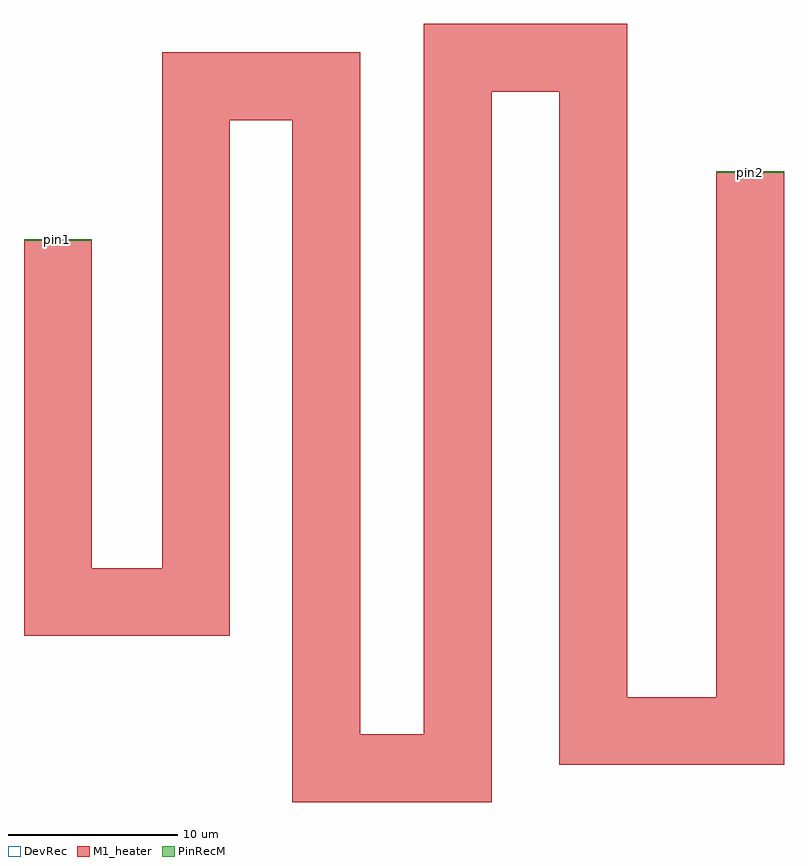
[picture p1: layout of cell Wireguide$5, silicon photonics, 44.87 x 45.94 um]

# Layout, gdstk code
import gdstk
lib = gdstk.Library(unit=1e-6, precision=1e-09)
PinRecM = (1, 11)
M1_heater = (11, 0)
DevRec = (68, 0)

wireguide_5 = lib.new_cell('Wireguide$5')
wireguide_5.add(gdstk.FlexPath([(1006.154,286.189),(1006.154,264.804),(1014.308,264.804),(1014.308,295.254),(1022,295.254),(1022,255),(1029.754,255),(1029.754,296.935),(1037.764,296.935),(1037.764,257.189),(1047.02,257.189),(1047.02,290.189)], 4, ends="flush", simple_path=True, layer=68, datatype=0))  # DevRec
wireguide_5.add(gdstk.FlexPath([(1006.154,286.139),(1006.154,286.239)], 4, ends="flush", simple_path=True, layer=1, datatype=11))  # PinRecM
wireguide_5.add(gdstk.FlexPath([(1047.02,290.139),(1047.02,290.239)], 4, ends="flush", simple_path=True, layer=1, datatype=11))  # PinRecM
wireguide_5.add(gdstk.FlexPath([(1006.154,286.189),(1006.154,264.804),(1014.308,264.804),(1014.308,295.254),(1022,295.254),(1022,255),(1029.754,255),(1029.754,296.935),(1037.764,296.935),(1037.764,257.189),(1047.02,257.189),(1047.02,290.189)], 4, ends="flush", simple_path=True, layer=11, datatype=0))  # M1_heater
wireguide_5.add(gdstk.Label('pin1', (1006.154,286.189), layer=1, texttype=11))
wireguide_5.add(gdstk.Label('pin2', (1047.02,290.189), layer=1, texttype=11))

lib.write_gds('Wireguide_5.gds')
